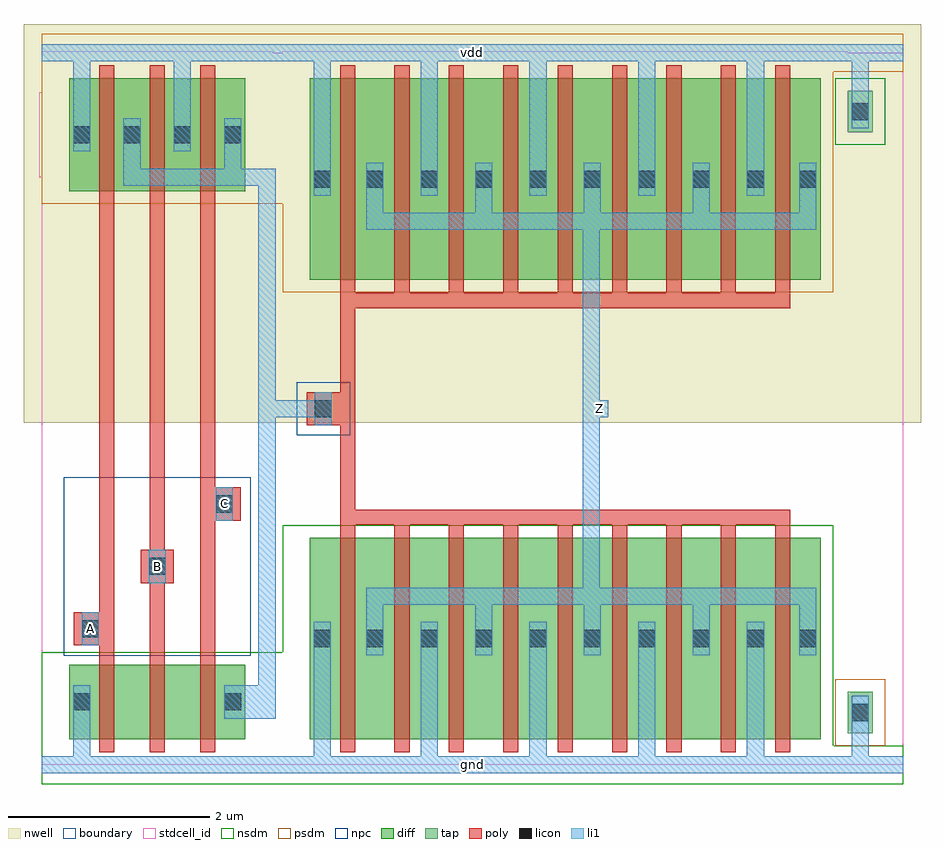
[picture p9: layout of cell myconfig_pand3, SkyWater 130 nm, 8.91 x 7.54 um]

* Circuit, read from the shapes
.subckt myconfig_pand3 A B C Z gnd vdd
XM1 myconfig_pnand3_0/myconfig_nmos_m1_w0_740_sli_dactive_3/D A gnd gnd sky130_fd_pr__nfet_01v8 w=0.74 l=0.15
XM2 myconfig_pnand3_0/myconfig_nmos_m1_w0_740_sactive_dactive_4/D B myconfig_pnand3_0/myconfig_nmos_m1_w0_740_sli_dactive_3/D gnd sky130_fd_pr__nfet_01v8 w=0.74 l=0.15
XM3 myconfig_pdriver_2_1/A C myconfig_pnand3_0/myconfig_nmos_m1_w0_740_sactive_dactive_4/D gnd sky130_fd_pr__nfet_01v8 w=0.74 l=0.15
XM4 Z myconfig_pdriver_2_1/A gnd gnd sky130_fd_pr__nfet_01v8 w=2 l=0.15 m=9
XM5 myconfig_pdriver_2_1/A A vdd vdd sky130_fd_pr__pfet_01v8 w=1.12 l=0.15
XM6 vdd B myconfig_pdriver_2_1/A vdd sky130_fd_pr__pfet_01v8 w=1.12 l=0.15
XM7 myconfig_pdriver_2_1/A C vdd vdd sky130_fd_pr__pfet_01v8 w=1.12 l=0.15
XM8 Z myconfig_pdriver_2_1/A vdd vdd sky130_fd_pr__pfet_01v8 w=2 l=0.15 m=9
.ends

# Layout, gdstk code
import gdstk
lib = gdstk.Library(unit=1e-6, precision=1e-09)
def R(c, l, rs):  # rectangles x0, y0, x1, y1
    for r in rs: c.add(gdstk.rectangle(r[:2], r[2:], *l))
def A(c, l, x, y, w, h, nx, ny, dx, dy):  # array of equal rectangles
    R(c, l, [(x+i*dx, y+j*dy, x+i*dx+w, y+j*dy+h) for i in range(nx) for j in range(ny)])
nwell = (64, 20)
diff = (65, 20)
tap = (65, 44)
poly = (66, 20)
licon = (66, 44)
li1 = (67, 20)
stdcell_id = (81, 4)
nsdm = (93, 44)
psdm = (94, 20)
npc = (95, 20)
boundary = (235, 4)

myconfig_contact_11 = lib.new_cell('myconfig_contact_11')
R(myconfig_contact_11, nwell, [(-0.295,-0.255,0.545,0.585)])
R(myconfig_contact_11, diff, [(0,0.02,0.25,0.31)])
R(myconfig_contact_11, licon, [(0.04,0.08,0.21,0.25)])
R(myconfig_contact_11, li1, [(0.04,0,0.21,0.33)])
R(myconfig_contact_11, stdcell_id, [(-0.295,-0.255,0.545,0.585)])
R(myconfig_contact_11, psdm, [(-0.125,-0.105,0.375,0.435)])
R(myconfig_contact_11, boundary, [(-0.295,-0.255,0.545,0.585)])

myconfig_pmos_m1_w1_120_ = lib.new_cell('myconfig_pmos_m1_w1_120_sli_dli')
R(myconfig_pmos_m1_w1_120_, nwell, [(-0.27,-0.27,1.02,1.39)])
R(myconfig_pmos_m1_w1_120_, diff, [(0,0,0.75,1.12)])
R(myconfig_pmos_m1_w1_120_, poly, [(0.3,-0.13,0.45,1.25), (0.3,-0.13,0.45,1.25)])
R(myconfig_pmos_m1_w1_120_, li1, [(0.04,0.395,0.21,0.725), (0.54,0.395,0.71,0.725)])
R(myconfig_pmos_m1_w1_120_, stdcell_id, [(-0.27,-0.27,1.02,1.39)])
R(myconfig_pmos_m1_w1_120_, psdm, [(-0.125,-0.125,0.875,1.245)])
R(myconfig_pmos_m1_w1_120_, boundary, [(-0.27,-0.27,1.02,1.39)])
myconfig_pmos_m1_w1_120_.add(gdstk.Reference(myconfig_contact_11, (0,0.395)))
myconfig_pmos_m1_w1_120_.add(gdstk.Reference(myconfig_contact_11, (0.5,0.395)))
myconfig_pmos_m1_w1_120_.add(gdstk.Label('G', (0.375,0.56), layer=66, texttype=5))
myconfig_pmos_m1_w1_120_.add(gdstk.Label('S', (0.125,0.56), layer=67, texttype=5))
myconfig_pmos_m1_w1_120_.add(gdstk.Label('D', (0.625,0.56), layer=67, texttype=5))

myconfig_contact_10 = lib.new_cell('myconfig_contact_10')
R(myconfig_contact_10, diff, [(0,0.02,0.25,0.31)])
R(myconfig_contact_10, licon, [(0.04,0.08,0.21,0.25)])
R(myconfig_contact_10, li1, [(0.04,0,0.21,0.33)])
R(myconfig_contact_10, stdcell_id, [(-0.125,-0.105,0.375,0.435)])
R(myconfig_contact_10, nsdm, [(-0.125,-0.105,0.375,0.435)])
R(myconfig_contact_10, boundary, [(-0.125,-0.105,0.375,0.435)])

myconfig_nmos_m1_w0_740_ = lib.new_cell('myconfig_nmos_m1_w0_740_sli_dactive')
R(myconfig_nmos_m1_w0_740_, diff, [(0,0,0.75,0.74), (0.55,0.295,0.7,0.445)])
R(myconfig_nmos_m1_w0_740_, poly, [(0.3,-0.13,0.45,0.87), (0.3,-0.13,0.45,0.87)])
R(myconfig_nmos_m1_w0_740_, li1, [(0.04,0.205,0.21,0.535)])
R(myconfig_nmos_m1_w0_740_, stdcell_id, [(-0.125,-0.13,0.875,0.87)])
R(myconfig_nmos_m1_w0_740_, nsdm, [(-0.125,-0.125,0.875,0.865)])
R(myconfig_nmos_m1_w0_740_, boundary, [(-0.125,-0.13,0.875,0.87)])
myconfig_nmos_m1_w0_740_.add(gdstk.Reference(myconfig_contact_10, (0,0.205)))
myconfig_nmos_m1_w0_740_.add(gdstk.Label('G', (0.375,0.37), layer=66, texttype=5))
myconfig_nmos_m1_w0_740_.add(gdstk.Label('S', (0.125,0.37), layer=67, texttype=5))
myconfig_nmos_m1_w0_740_.add(gdstk.Label('D', (0.625,0.37), layer=65, texttype=5))

c_myconfig_nmos_m1_w0_740_ = lib.new_cell('myconfig_nmos_m1_w0_740_sactive_dactive')
R(c_myconfig_nmos_m1_w0_740_, diff, [(0,0,0.75,0.74), (0.05,0.295,0.2,0.445), (0.55,0.295,0.7,0.445)])
R(c_myconfig_nmos_m1_w0_740_, poly, [(0.3,-0.13,0.45,0.87), (0.3,-0.13,0.45,0.87)])
R(c_myconfig_nmos_m1_w0_740_, stdcell_id, [(-0.125,-0.13,0.875,0.87)])
R(c_myconfig_nmos_m1_w0_740_, nsdm, [(-0.125,-0.125,0.875,0.865)])
R(c_myconfig_nmos_m1_w0_740_, boundary, [(-0.125,-0.13,0.875,0.87)])
c_myconfig_nmos_m1_w0_740_.add(gdstk.Label('G', (0.375,0.37), layer=66, texttype=5))
c_myconfig_nmos_m1_w0_740_.add(gdstk.Label('S', (0.125,0.37), layer=65, texttype=5))
c_myconfig_nmos_m1_w0_740_.add(gdstk.Label('D', (0.625,0.37), layer=65, texttype=5))

c_myconfig_nmos_m1_w0_740__ = lib.new_cell('myconfig_nmos_m1_w0_740_sactive_dli')
R(c_myconfig_nmos_m1_w0_740__, diff, [(0,0,0.75,0.74), (0.05,0.295,0.2,0.445)])
R(c_myconfig_nmos_m1_w0_740__, poly, [(0.3,-0.13,0.45,0.87), (0.3,-0.13,0.45,0.87)])
R(c_myconfig_nmos_m1_w0_740__, li1, [(0.54,0.205,0.71,0.535)])
R(c_myconfig_nmos_m1_w0_740__, stdcell_id, [(-0.125,-0.13,0.875,0.87)])
R(c_myconfig_nmos_m1_w0_740__, nsdm, [(-0.125,-0.125,0.875,0.865)])
R(c_myconfig_nmos_m1_w0_740__, boundary, [(-0.125,-0.13,0.875,0.87)])
c_myconfig_nmos_m1_w0_740__.add(gdstk.Reference(myconfig_contact_10, (0.5,0.205)))
c_myconfig_nmos_m1_w0_740__.add(gdstk.Label('G', (0.375,0.37), layer=66, texttype=5))
c_myconfig_nmos_m1_w0_740__.add(gdstk.Label('S', (0.125,0.37), layer=65, texttype=5))
c_myconfig_nmos_m1_w0_740__.add(gdstk.Label('D', (0.625,0.37), layer=67, texttype=5))

myconfig_contact_15 = lib.new_cell('myconfig_contact_15')
R(myconfig_contact_15, poly, [(0,0,0.33,0.33)])
R(myconfig_contact_15, licon, [(0.08,0.08,0.25,0.25)])
R(myconfig_contact_15, li1, [(0.08,0,0.25,0.33)])
R(myconfig_contact_15, stdcell_id, [(-0.1,-0.1,0.43,0.43)])
R(myconfig_contact_15, npc, [(-0.1,-0.1,0.43,0.43)])
R(myconfig_contact_15, boundary, [(-0.1,-0.1,0.43,0.43)])

myconfig_pnand3 = lib.new_cell('myconfig_pnand3')
R(myconfig_pnand3, nwell, [(-0.18,3.395,2.57,7.355)])
A(myconfig_pnand3, poly, 0.57, 1.125, 0.15, 4.44, 3, 1, 0.5, 0)
R(myconfig_pnand3, poly, [(0.48,1.185,0.57,1.515), (1.07,1.805,1.145,2.135), (1.57,2.425,1.81,2.755)])
R(myconfig_pnand3, li1, [(0,-0.085,2.39,0.085), (0.31,-0.085,0.48,0.46), (1.895,0.46,2.235,0.79), (2.15,0.46,2.32,5.835), (0.395,1.185,0.565,1.515), (1.06,1.805,1.23,2.135), (1.725,2.425,1.895,2.755), (0.81,5.75,0.98,5.92), (0.895,5.75,2.235,5.92), (1.81,5.75,1.98,5.92), (1.895,5.75,2.235,5.92), (2.15,5.75,2.32,5.92), (0.81,5.835,0.98,6.255), (1.81,5.835,1.98,6.255), (0.31,6.09,0.48,7.155), (1.31,6.09,1.48,7.155), (0,6.985,2.39,7.155)])
R(myconfig_pnand3, stdcell_id, [(0,0,2.39,7.07), (0,0,2.39,7.07)])
R(myconfig_pnand3, nsdm, [(0,-0.19,2.39,0.19), (0,0,2.39,1.12)])
R(myconfig_pnand3, psdm, [(0,5.57,2.39,7.07), (0,6.88,2.39,7.26)])
R(myconfig_pnand3, npc, [(0.215,1.085,2.075,2.855)])
R(myconfig_pnand3, boundary, [(0,0,2.39,7.07), (0,0,2.39,7.07)])
myconfig_pnand3.add(gdstk.Reference(myconfig_pmos_m1_w1_120_, (0.27,5.695)))
myconfig_pnand3.add(gdstk.Reference(myconfig_pmos_m1_w1_120_, (0.77,5.695)))
myconfig_pnand3.add(gdstk.Reference(myconfig_pmos_m1_w1_120_, (1.27,5.695)))
myconfig_pnand3.add(gdstk.Reference(myconfig_nmos_m1_w0_740_, (0.27,0.255)))
myconfig_pnand3.add(gdstk.Reference(c_myconfig_nmos_m1_w0_740_, (0.77,0.255)))
myconfig_pnand3.add(gdstk.Reference(c_myconfig_nmos_m1_w0_740__, (1.27,0.255)))
myconfig_pnand3.add(gdstk.Reference(myconfig_contact_15, (0.315,1.185)))
myconfig_pnand3.add(gdstk.Reference(myconfig_contact_15, (0.98,1.805)))
myconfig_pnand3.add(gdstk.Reference(myconfig_contact_15, (1.645,2.425)))
myconfig_pnand3.add(gdstk.Label('A', (0.48,1.35), layer=67, texttype=5))
myconfig_pnand3.add(gdstk.Label('B', (1.145,1.97), layer=67, texttype=5))
myconfig_pnand3.add(gdstk.Label('C', (1.81,2.59), layer=67, texttype=5))
myconfig_pnand3.add(gdstk.Label('Z', (2.235,5.835), layer=67, texttype=5))
myconfig_pnand3.add(gdstk.Label('gnd', (1.195,0), layer=67, texttype=5))
myconfig_pnand3.add(gdstk.Label('vdd', (1.195,7.07), layer=67, texttype=5))

myconfig_pmos_m9_w2_000_ = lib.new_cell('myconfig_pmos_m9_w2_000_sli_dli_da_p')
R(myconfig_pmos_m9_w2_000_, nwell, [(-0.27,-0.27,5.34,2.27)])
R(myconfig_pmos_m9_w2_000_, diff, [(0,0,5.07,2)])
A(myconfig_pmos_m9_w2_000_, poly, 0.3, -0.13, 0.15, 2.26, 9, 1, 0.54, 0)
R(myconfig_pmos_m9_w2_000_, poly, [(0.3,-0.28,4.77,-0.13)])
A(myconfig_pmos_m9_w2_000_, li1, 0.56, 0.58, 0.17, 0.42, 4, 1, 1.08, 0)
A(myconfig_pmos_m9_w2_000_, li1, 1.1, 0.835, 0.17, 0.33, 4, 1, 1.08, 0)
R(myconfig_pmos_m9_w2_000_, li1, [(0.56,0.495,5.03,0.665), (4.86,0.58,5.03,1), (0.04,0.835,0.21,1.165)])
R(myconfig_pmos_m9_w2_000_, stdcell_id, [(-0.27,-0.28,5.34,2.27)])
R(myconfig_pmos_m9_w2_000_, psdm, [(-0.125,-0.125,5.195,2.125)])
R(myconfig_pmos_m9_w2_000_, boundary, [(-0.27,-0.28,5.34,2.27)])
myconfig_pmos_m9_w2_000_.add(gdstk.Reference(myconfig_contact_11, (0,0.835)))
myconfig_pmos_m9_w2_000_.add(gdstk.Reference(myconfig_contact_11, (0.52,0.835)))
myconfig_pmos_m9_w2_000_.add(gdstk.Reference(myconfig_contact_11, (1.06,0.835)))
myconfig_pmos_m9_w2_000_.add(gdstk.Reference(myconfig_contact_11, (1.6,0.835)))
myconfig_pmos_m9_w2_000_.add(gdstk.Reference(myconfig_contact_11, (2.14,0.835)))
myconfig_pmos_m9_w2_000_.add(gdstk.Reference(myconfig_contact_11, (2.68,0.835)))
myconfig_pmos_m9_w2_000_.add(gdstk.Reference(myconfig_contact_11, (3.22,0.835)))
myconfig_pmos_m9_w2_000_.add(gdstk.Reference(myconfig_contact_11, (3.76,0.835)))
myconfig_pmos_m9_w2_000_.add(gdstk.Reference(myconfig_contact_11, (4.3,0.835)))
myconfig_pmos_m9_w2_000_.add(gdstk.Reference(myconfig_contact_11, (4.82,0.835)))
myconfig_pmos_m9_w2_000_.add(gdstk.Label('G', (2.535,-0.205), layer=66, texttype=5))
myconfig_pmos_m9_w2_000_.add(gdstk.Label('S', (1.185,1), layer=67, texttype=5))
myconfig_pmos_m9_w2_000_.add(gdstk.Label('S', (4.425,1), layer=67, texttype=5))
myconfig_pmos_m9_w2_000_.add(gdstk.Label('S', (0.125,1), layer=67, texttype=5))
myconfig_pmos_m9_w2_000_.add(gdstk.Label('S', (3.345,1), layer=67, texttype=5))
myconfig_pmos_m9_w2_000_.add(gdstk.Label('S', (2.265,1), layer=67, texttype=5))
myconfig_pmos_m9_w2_000_.add(gdstk.Label('D', (2.795,0.58), layer=67, texttype=5))

myconfig_nmos_m9_w2_000_ = lib.new_cell('myconfig_nmos_m9_w2_000_sli_dli_da_p')
R(myconfig_nmos_m9_w2_000_, diff, [(0,0,5.07,2)])
A(myconfig_nmos_m9_w2_000_, poly, 0.3, -0.13, 0.15, 2.26, 9, 1, 0.54, 0)
R(myconfig_nmos_m9_w2_000_, poly, [(0.3,2.13,4.77,2.28)])
A(myconfig_nmos_m9_w2_000_, li1, 1.1, 0.835, 0.17, 0.33, 4, 1, 1.08, 0)
A(myconfig_nmos_m9_w2_000_, li1, 0.56, 1, 0.17, 0.42, 4, 1, 1.08, 0)
R(myconfig_nmos_m9_w2_000_, li1, [(0.04,0.835,0.21,1.165), (4.86,1,5.03,1.42), (0.56,1.335,5.03,1.505)])
R(myconfig_nmos_m9_w2_000_, stdcell_id, [(-0.125,-0.13,5.195,2.28)])
R(myconfig_nmos_m9_w2_000_, nsdm, [(-0.125,-0.125,5.195,2.125)])
R(myconfig_nmos_m9_w2_000_, boundary, [(-0.125,-0.13,5.195,2.28)])
myconfig_nmos_m9_w2_000_.add(gdstk.Reference(myconfig_contact_10, (0,0.835)))
myconfig_nmos_m9_w2_000_.add(gdstk.Reference(myconfig_contact_10, (0.52,0.835)))
myconfig_nmos_m9_w2_000_.add(gdstk.Reference(myconfig_contact_10, (1.06,0.835)))
myconfig_nmos_m9_w2_000_.add(gdstk.Reference(myconfig_contact_10, (1.6,0.835)))
myconfig_nmos_m9_w2_000_.add(gdstk.Reference(myconfig_contact_10, (2.14,0.835)))
myconfig_nmos_m9_w2_000_.add(gdstk.Reference(myconfig_contact_10, (2.68,0.835)))
myconfig_nmos_m9_w2_000_.add(gdstk.Reference(myconfig_contact_10, (3.22,0.835)))
myconfig_nmos_m9_w2_000_.add(gdstk.Reference(myconfig_contact_10, (3.76,0.835)))
myconfig_nmos_m9_w2_000_.add(gdstk.Reference(myconfig_contact_10, (4.3,0.835)))
myconfig_nmos_m9_w2_000_.add(gdstk.Reference(myconfig_contact_10, (4.82,0.835)))
myconfig_nmos_m9_w2_000_.add(gdstk.Label('G', (2.535,2.205), layer=66, texttype=5))
myconfig_nmos_m9_w2_000_.add(gdstk.Label('S', (1.185,1), layer=67, texttype=5))
myconfig_nmos_m9_w2_000_.add(gdstk.Label('S', (4.425,1), layer=67, texttype=5))
myconfig_nmos_m9_w2_000_.add(gdstk.Label('S', (0.125,1), layer=67, texttype=5))
myconfig_nmos_m9_w2_000_.add(gdstk.Label('S', (3.345,1), layer=67, texttype=5))
myconfig_nmos_m9_w2_000_.add(gdstk.Label('S', (2.265,1), layer=67, texttype=5))
myconfig_nmos_m9_w2_000_.add(gdstk.Label('D', (2.795,1.42), layer=67, texttype=5))

myconfig_contact_28 = lib.new_cell('myconfig_contact_28')
R(myconfig_contact_28, nwell, [(-0.295,-0.215,0.545,0.625)])
R(myconfig_contact_28, tap, [(0,0,0.25,0.41)])
R(myconfig_contact_28, licon, [(0.04,0.12,0.21,0.29)])
R(myconfig_contact_28, li1, [(0.04,0.04,0.21,0.37)])
R(myconfig_contact_28, stdcell_id, [(-0.295,-0.215,0.545,0.625)])
R(myconfig_contact_28, nsdm, [(-0.125,-0.125,0.375,0.535)])
R(myconfig_contact_28, boundary, [(-0.295,-0.215,0.545,0.625)])

myconfig_contact_29 = lib.new_cell('myconfig_contact_29')
R(myconfig_contact_29, tap, [(0,0,0.25,0.41)])
R(myconfig_contact_29, licon, [(0.04,0.12,0.21,0.29)])
R(myconfig_contact_29, li1, [(0.04,0.04,0.21,0.37)])
R(myconfig_contact_29, stdcell_id, [(-0.125,-0.125,0.375,0.535)])
R(myconfig_contact_29, psdm, [(-0.125,-0.125,0.375,0.535)])
R(myconfig_contact_29, boundary, [(-0.125,-0.125,0.375,0.535)])

myconfig_pinv_8 = lib.new_cell('myconfig_pinv_8')
R(myconfig_pinv_8, nwell, [(-0.18,3.395,6.34,7.355)])
R(myconfig_pinv_8, poly, [(0.57,2.535,0.72,4.535), (0.405,3.37,0.57,3.7)])
A(myconfig_pinv_8, li1, 1.37, -0.085, 0.17, 1.175, 4, 1, 1.08, 0)
A(myconfig_pinv_8, li1, 1.37, 5.65, 0.17, 1.505, 4, 1, 1.08, 0)
R(myconfig_pinv_8, li1, [(0,-0.085,6.16,0.085), (0.31,-0.085,0.48,1.09), (5.65,0,5.82,0.52), (2.98,1.59,3.15,5.48), (0.32,3.37,0.49,3.7), (3.065,3.45,3.235,3.62), (0.31,5.65,0.48,7.155), (5.65,6.485,5.82,7.07), (0,6.985,6.16,7.155)])
R(myconfig_pinv_8, stdcell_id, [(0,0,6.16,7.07), (0,0,6.16,7.07)])
R(myconfig_pinv_8, nsdm, [(0,-0.19,6.16,0.19), (0,0,5.465,2.38)])
R(myconfig_pinv_8, psdm, [(0,4.69,5.465,7.07), (0,6.88,6.16,7.26)])
R(myconfig_pinv_8, boundary, [(0,0,6.16,7.07), (0,0,6.16,7.07)])
myconfig_pinv_8.add(gdstk.Reference(myconfig_pmos_m9_w2_000_, (0.27,4.815)))
myconfig_pinv_8.add(gdstk.Reference(myconfig_nmos_m9_w2_000_, (0.27,0.255)))
myconfig_pinv_8.add(gdstk.Reference(myconfig_contact_28, (5.61,6.28)))
myconfig_pinv_8.add(gdstk.Reference(myconfig_contact_29, (5.61,0.315)))
myconfig_pinv_8.add(gdstk.Reference(myconfig_contact_15, (0.24,3.37)))
myconfig_pinv_8.add(gdstk.Label('A', (0.405,3.535), layer=67, texttype=5))
myconfig_pinv_8.add(gdstk.Label('Z', (3.15,3.535), layer=67, texttype=5))
myconfig_pinv_8.add(gdstk.Label('gnd', (3.08,0), layer=67, texttype=5))
myconfig_pinv_8.add(gdstk.Label('vdd', (3.08,7.07), layer=67, texttype=5))

myconfig_pdriver_2 = lib.new_cell('myconfig_pdriver_2')
R(myconfig_pdriver_2, nwell, [(-0.18,3.395,6.34,7.355)])
R(myconfig_pdriver_2, li1, [(0,-0.085,6.16,0.085), (0.32,3.37,0.49,3.7), (3.065,3.45,3.235,3.62), (0,6.985,6.16,7.155)])
R(myconfig_pdriver_2, stdcell_id, [(0,0,6.16,7.07), (0,0,6.16,7.07)])
R(myconfig_pdriver_2, nsdm, [(0,-0.19,6.16,0.19)])
R(myconfig_pdriver_2, psdm, [(0,6.88,6.16,7.26)])
R(myconfig_pdriver_2, boundary, [(0,0,6.16,7.07), (0,0,6.16,7.07)])
myconfig_pdriver_2.add(gdstk.Reference(myconfig_pinv_8, (0,0)))
myconfig_pdriver_2.add(gdstk.Label('Z', (3.15,3.535), layer=67, texttype=5))
myconfig_pdriver_2.add(gdstk.Label('A', (0.405,3.535), layer=67, texttype=5))
myconfig_pdriver_2.add(gdstk.Label('gnd', (3.08,0), layer=67, texttype=5))
myconfig_pdriver_2.add(gdstk.Label('vdd', (3.08,7.07), layer=67, texttype=5))

myconfig_pand3 = lib.new_cell('myconfig_pand3')
R(myconfig_pand3, li1, [(0,-0.085,8.55,0.085), (0.395,1.185,0.565,1.515), (1.06,1.805,1.23,2.135), (1.725,2.425,1.895,2.755), (2.15,3.45,2.32,3.62), (2.235,3.45,2.795,3.62), (5.455,3.45,5.625,3.62), (2.15,3.535,2.32,5.835), (0,6.985,8.55,7.155)])
R(myconfig_pand3, stdcell_id, [(0,0,8.55,7.07), (0,0,8.55,7.07)])
R(myconfig_pand3, boundary, [(0,0,8.55,7.07), (0,0,8.55,7.07)])
myconfig_pand3.add(gdstk.Reference(myconfig_pnand3, (0,0)))
myconfig_pand3.add(gdstk.Reference(myconfig_pdriver_2, (2.39,0)))
myconfig_pand3.add(gdstk.Label('Z', (5.54,3.535), layer=67, texttype=5))
myconfig_pand3.add(gdstk.Label('A', (0.48,1.35), layer=67, texttype=5))
myconfig_pand3.add(gdstk.Label('B', (1.145,1.97), layer=67, texttype=5))
myconfig_pand3.add(gdstk.Label('C', (1.81,2.59), layer=67, texttype=5))
myconfig_pand3.add(gdstk.Label('gnd', (4.275,0), layer=67, texttype=5))
myconfig_pand3.add(gdstk.Label('vdd', (4.275,7.07), layer=67, texttype=5))

lib.write_gds('myconfig_pand3.gds')
